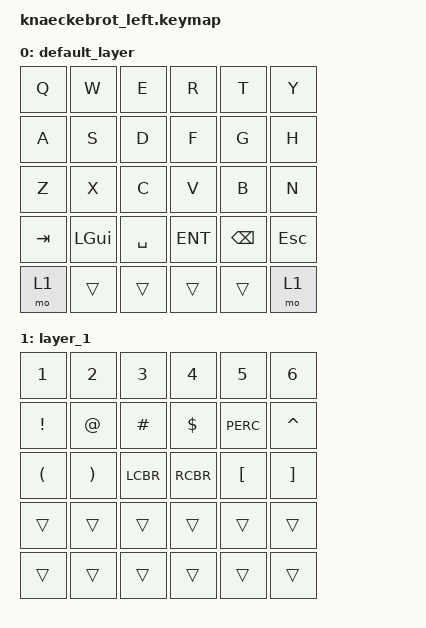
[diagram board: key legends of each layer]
/ {
    keymap {
        compatible = "zmk,keymap";
        default_layer {
            bindings = <
                &kp Q  &kp W  &kp E  &kp R  &kp T  &kp Y
                &kp A  &kp S  &kp D  &kp F  &kp G  &kp H
                &kp Z  &kp X  &kp C  &kp V  &kp B  &kp N
                &kp TAB &kp LGUI &kp SPC &kp ENT &kp BSPC &kp ESC
                &mo 1   &trans  &trans  &trans  &trans  &mo 1
            >;
        };
        layer_1 {
            bindings = <
                &kp 1 &kp 2 &kp 3 &kp 4 &kp 5 &kp 6
                &kp EXCL &kp AT &kp HASH &kp DLLR &kp PERC &kp CARET
                &kp LPAR &kp RPAR &kp LCBR &kp RCBR &kp LBKT &kp RBKT
                &trans &trans &trans &trans &trans &trans
                &trans &trans &trans &trans &trans &trans
            >;
        };
    };
};
